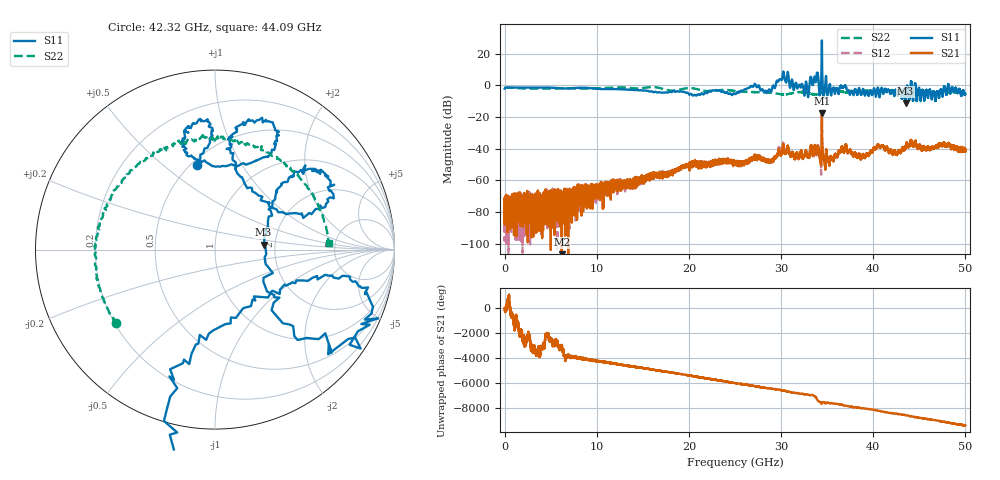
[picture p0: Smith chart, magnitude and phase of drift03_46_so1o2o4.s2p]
!Created with skrf (http://scikit-rf.org).
# Hz S RI R 50.0
!freq ReS11 ImS11 ReS21 ImS21 ReS12 ImS12 ReS22 ImS22
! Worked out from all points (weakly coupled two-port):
!   10000 points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, 5.3 MHz to 50 GHz, reference 50 ohm
!   highest |S21| = -17.47 dB at 34.43 GHz (marker M1); lowest = -114.4 dB at 6.205 GHz (marker M2)
!   lowest |S11| = -11.3 dB at 43.52 GHz (marker M3), VSWR 1.75, Z = 87 + j5.29 ohm
!   |S11| at or under -10 dB: 43.49109 GHz to 43.54151 GHz (50.42 MHz wide, 0.116 % of centre); 43.54949 GHz to 43.55169 GHz (2.199 MHz wide, 0.00505 % of centre)
!   |S22| runs from -5.8 to -1.1 dB; largest |S21 - S12| = 0.03
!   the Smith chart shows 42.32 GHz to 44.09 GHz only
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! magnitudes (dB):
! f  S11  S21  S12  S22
! 5.3 MHz  -2.1  -71.2  -71.8  -1.3
! 1.155 GHz  -1.4  -74.8  -73.5  -1.6
! 6.205 GHz  -1.9  -114.4  -83.9  -1.9
! 8.34 GHz  -1.5  -70.4  -65.6  -2.1
! 16.67 GHz  -4.4  -58.0  -56.5  -1.5
! 20.25 GHz  -5.4  -49.1  -50.2  -1.7
! 25.01 GHz  -5.5  -49.3  -49.2  -3.5
! 27.02 GHz  -0.3  -45.9  -45.7  -4.2
! 28.72 GHz  -2.5  -48.1  -48.3  -4.5
! 30.14 GHz  4.4  -40.3  -41.0  -5.7
! 32.74 GHz  2.0  -42.2  -41.9  -4.6
! 33.34 GHz  2.6  -40.4  -40.2  -5.6
! 33.82 GHz  4.0  -42.5  -42.3  -5.7
! 34.43 GHz  28.4  -17.5  -18.8  -4.6
! 35.31 GHz  0.6  -47.2  -46.2  -3.3
! 36.85 GHz  -0.7  -41.5  -41.6  -4.3
! 38.87 GHz  -2.4  -44.9  -43.5  -3.2
! 40.6 GHz  -4.4  -38.6  -38.5  -4.0
! 41.67 GHz  -3.0  -41.9  -42.3  -3.3
! 43.52 GHz  -11.3  -39.1  -39.0  -4.2
! 48.32 GHz  -4.5  -38.4  -38.3  -4.6
! 50 GHz  -5.2  -41.1  -39.9  -4.6
